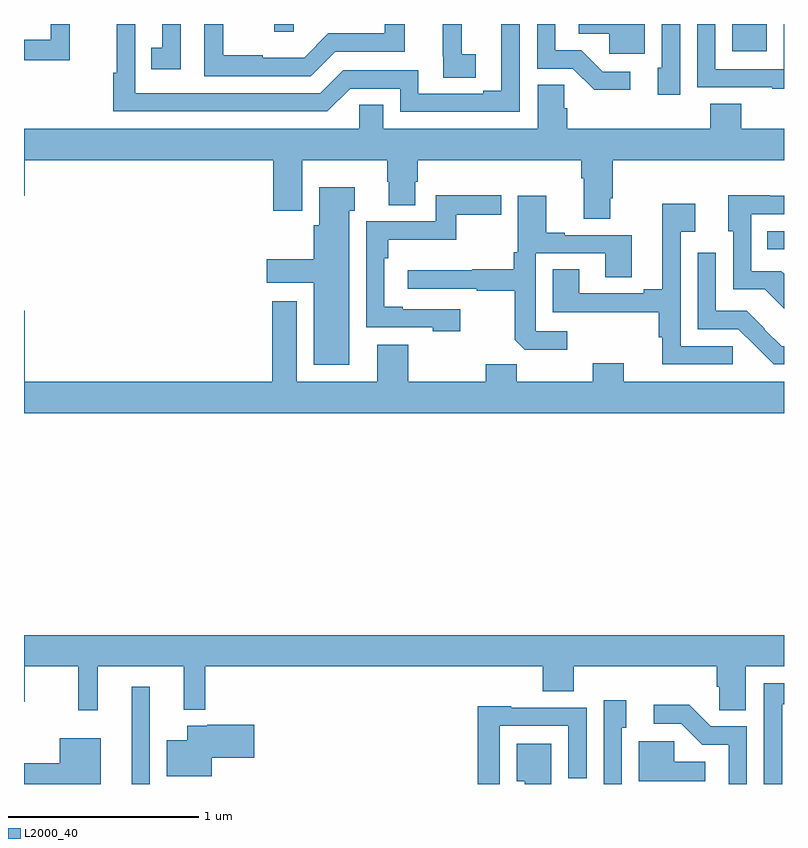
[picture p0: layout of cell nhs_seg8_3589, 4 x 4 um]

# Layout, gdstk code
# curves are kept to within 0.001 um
import gdstk
lib = gdstk.Library(unit=1e-6, precision=1e-09)
def R(c, l, rs):  # rectangles x0, y0, x1, y1
    for r in rs: c.add(gdstk.rectangle(r[:2], r[2:], *l))
def P(c, l, *ps):  # polygons
    for p in ps: c.add(gdstk.Polygon(p, *l))
L2000_40 = (2000, 40)

nhs_seg8_3589 = lib.new_cell('nhs_seg8_3589')
R(nhs_seg8_3589, L2000_40, [(333.566,1095.9,333.663,1096.411), (336.913,1098.714,337,1098.81), (336.728,1099.757,336.91,1099.9), (334.318,1099.86,334.419,1099.9)])
P(nhs_seg8_3589, L2000_40, [(333.825,1099.9),(333.728,1099.9),(333.728,1099.775),(333.67,1099.775),(333.67,1099.662),(333.825,1099.662)],
  [(336.453,1099.9),(336.357,1099.9),(336.357,1099.671),(336.335,1099.671),(336.335,1099.527),(336.453,1099.527)],
  [(335.61,1099.9),(335.513,1099.9),(335.513,1099.548),(335.417,1099.548),(335.417,1099.533),(335.076,1099.533),(335.076,1099.656),(334.68,1099.656),(334.56,1099.536),(333.585,1099.536),(333.586,1099.9),(333.487,1099.9),(333.487,1099.643),(333.469,1099.643),(333.469,1099.44),(334.596,1099.44),(334.716,1099.56),(334.98,1099.56),(334.98,1099.437),(335.61,1099.437)],
  [(334.638,1099.755),(335.005,1099.755),(335.005,1099.9),(334.898,1099.9),(334.898,1099.851),(334.602,1099.851),(334.474,1099.723),(334.256,1099.723),(334.256,1099.735),(334.049,1099.735),(334.049,1099.9),(333.948,1099.9),(333.948,1099.626),(334.509,1099.626)],
  [(335.377,1099.74),(335.303,1099.74),(335.303,1099.9),(335.204,1099.9),(335.204,1099.729),(335.206,1099.729),(335.206,1099.618),(335.377,1099.618)],
  [(333.24,1099.9),(333.141,1099.9),(333.141,1099.818),(333,1099.818),(333,1099.71),(333.24,1099.71)],
  [(337,1099.9),(336.999,1099.9),(336.999,1099.662),(336.639,1099.662),(336.639,1099.9),(336.543,1099.9),(336.543,1099.566),(336.939,1099.566),(336.939,1099.559),(337,1099.559)],
  [(336.268,1099.9),(335.919,1099.9),(335.919,1099.85),(336.081,1099.85),(336.081,1099.743),(336.268,1099.743)],
  [(336.19,1099.65),(336.045,1099.65),(335.934,1099.761),(335.796,1099.761),(335.796,1099.9),(335.7,1099.9),(335.7,1099.665),(335.889,1099.665),(336.002,1099.553),(336.19,1099.553)],
  [(336.085,1098.982),(336.098,1098.982),(336.098,1099.184),(337,1099.184),(337,1099.348),(336.776,1099.348),(336.776,1099.481),(336.611,1099.481),(336.611,1099.348),(335.858,1099.348),(335.858,1099.457),(335.844,1099.457),(335.844,1099.58),(335.705,1099.58),(335.705,1099.348),(334.891,1099.348),(334.891,1099.475),(334.764,1099.475),(334.764,1099.348),(333,1099.348),(333,1098.996),(333.004,1098.996),(333.004,1099.184),(334.313,1099.184),(334.313,1098.918),(334.465,1098.918),(334.465,1099.184),(334.912,1099.184),(334.912,1099.071),(334.919,1099.071),(334.919,1098.946),(335.059,1098.946),(335.059,1099.071),(335.072,1099.071),(335.072,1099.184),(335.933,1099.184),(335.933,1099.088),(335.945,1099.088),(335.945,1098.874),(336.085,1098.874)],
  [(334.711,1098.917),(334.741,1098.917),(334.741,1099.042),(334.553,1099.042),(334.553,1098.84),(334.526,1098.84),(334.526,1098.661),(334.278,1098.661),(334.278,1098.539),(334.526,1098.539),(334.526,1098.107),(334.711,1098.107)],
  [(337,1098.585),(336.985,1098.6),(336.828,1098.6),(336.828,1098.9),(337,1098.9),(337,1098.996),(336.925,1098.996),(336.925,1098.998),(336.707,1098.998),(336.707,1098.81),(336.732,1098.81),(336.732,1098.504),(336.898,1098.504),(337,1098.402)],
  [(335.296,1098.399),(334.993,1098.399),(334.993,1098.412),(334.896,1098.412),(334.896,1098.668),(334.916,1098.668),(334.916,1098.764),(335.275,1098.764),(335.275,1098.895),(335.512,1098.895),(335.512,1098.998),(335.166,1098.998),(335.166,1098.861),(334.8,1098.861),(334.8,1098.303),(335.151,1098.303),(335.151,1098.284),(335.296,1098.284)],
  [(335.86,1098.282),(335.694,1098.282),(335.694,1098.693),(336.059,1098.693),(336.059,1098.568),(336.199,1098.568),(336.199,1098.789),(335.845,1098.789),(335.845,1098.802),(335.749,1098.802),(335.749,1098.997),(335.598,1098.997),(335.598,1098.7),(335.578,1098.7),(335.578,1098.608),(335.359,1098.608),(335.359,1098.604),(335.019,1098.604),(335.019,1098.507),(335.383,1098.507),(335.383,1098.495),(335.583,1098.495),(335.583,1098.237),(335.635,1098.186),(335.86,1098.186)],
  [(336.729,1098.204),(336.456,1098.204),(336.456,1098.806),(336.532,1098.806),(336.532,1098.955),(336.359,1098.955),(336.359,1098.503),(336.263,1098.503),(336.263,1098.483),(335.923,1098.483),(335.923,1098.608),(335.783,1098.608),(335.783,1098.382),(336.34,1098.382),(336.34,1098.251),(336.359,1098.251),(336.359,1098.108),(336.729,1098.108)],
  [(337,1098.204),(336.987,1098.204),(336.897,1098.294),(336.899,1098.296),(336.805,1098.39),(336.642,1098.39),(336.642,1098.697),(336.546,1098.697),(336.546,1098.294),(336.759,1098.294),(336.947,1098.108),(337,1098.108)],
  [(337,1098.016),(336.157,1098.016),(336.157,1098.115),(335.993,1098.115),(335.993,1098.016),(335.593,1098.016),(335.593,1098.109),(335.429,1098.109),(335.429,1098.016),(335.023,1098.016),(335.023,1098.211),(334.859,1098.211),(334.859,1098.016),(334.435,1098.016),(334.435,1098.442),(334.307,1098.442),(334.307,1098.016),(333.004,1098.016),(333.004,1098.391),(333,1098.391),(333,1097.852),(337,1097.852)],
  [(333,1096.332),(333.004,1096.332),(333.004,1096.52),(333.286,1096.52),(333.286,1096.287),(333.389,1096.287),(333.389,1096.52),(333.842,1096.52),(333.842,1096.292),(333.954,1096.292),(333.954,1096.52),(335.729,1096.52),(335.729,1096.387),(335.894,1096.387),(335.894,1096.52),(336.647,1096.52),(336.647,1096.411),(336.66,1096.411),(336.66,1096.288),(336.799,1096.288),(336.799,1096.52),(337,1096.52),(337,1096.684),(333,1096.684)],
  [(336.991,1096.32),(337,1096.32),(337,1096.431),(336.894,1096.431),(336.894,1095.9),(336.991,1095.9)],
  [(336.147,1096.197),(336.169,1096.197),(336.169,1096.342),(336.051,1096.342),(336.051,1095.9),(336.147,1095.9)],
  [(336.804,1096.203),(336.615,1096.203),(336.502,1096.316),(336.315,1096.316),(336.315,1096.218),(336.459,1096.218),(336.57,1096.107),(336.708,1096.107),(336.708,1095.9),(336.804,1095.9)],
  [(335.505,1096.206),(335.865,1096.206),(335.865,1095.93),(335.961,1095.93),(335.961,1096.302),(335.565,1096.302),(335.565,1096.309),(335.389,1096.309),(335.389,1095.9),(335.505,1095.9)],
  [(333.988,1096.037),(334.213,1096.037),(334.213,1096.212),(333.964,1096.212),(333.964,1096.207),(333.86,1096.207),(333.86,1096.129),(333.752,1096.129),(333.752,1095.941),(333.988,1095.941)],
  [(333.403,1096.141),(333.188,1096.141),(333.188,1096.01),(333,1096.01),(333,1095.9),(333.403,1095.9)],
  [(336.586,1096.018),(336.423,1096.018),(336.423,1096.125),(336.236,1096.125),(336.236,1095.914),(336.586,1095.914)],
  [(335.776,1096.111),(335.594,1096.111),(335.594,1095.914),(335.636,1095.914),(335.636,1095.9),(335.776,1095.9)])

lib.write_gds('nhs_seg8_3589.gds')
